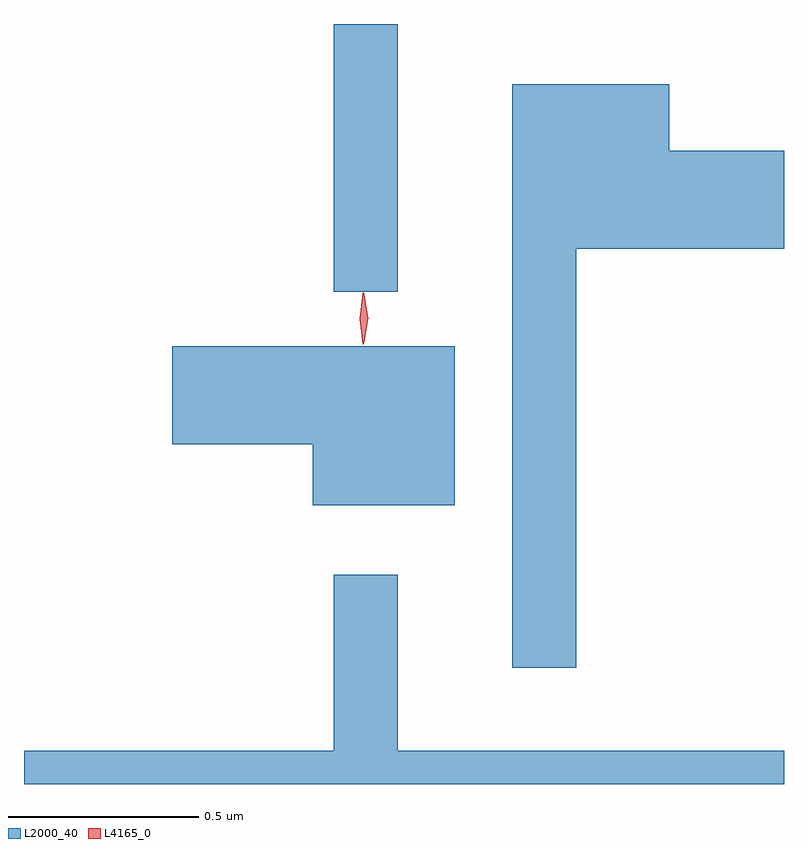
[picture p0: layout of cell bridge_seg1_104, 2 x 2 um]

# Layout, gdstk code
import gdstk
lib = gdstk.Library(unit=1e-6, precision=1e-09)
def R(c, l, rs):  # rectangles x0, y0, x1, y1
    for r in rs: c.add(gdstk.rectangle(r[:2], r[2:], *l))
def P(c, l, *ps):  # polygons
    for p in ps: c.add(gdstk.Polygon(p, *l))
L2000_40 = (2000, 40)
L4165_0 = (4165, 0)

bridge_seg1_104 = lib.new_cell('bridge_seg1_104')
R(bridge_seg1_104, L2000_40, [(1246.171,869.973,1246.339,870.677)])
P(bridge_seg1_104, L2000_40, [(1246.809,870.086),(1247.356,870.086),(1247.356,870.344),(1247.054,870.344),(1247.054,870.519),(1246.641,870.519),(1246.641,868.983),(1246.809,868.983)],
  [(1246.489,869.829),(1245.746,869.829),(1245.746,869.571),(1246.116,869.571),(1246.116,869.411),(1246.489,869.411)],
  [(1247.356,868.764),(1246.339,868.764),(1246.339,869.228),(1246.171,869.228),(1246.171,868.764),(1245.356,868.764),(1245.356,868.677),(1247.356,868.677)])
P(bridge_seg1_104, L4165_0, [(1246.248,869.834),(1246.239,869.902),(1246.248,869.97),(1246.249,869.97),(1246.25,869.97),(1246.259,869.902),(1246.25,869.834),(1246.249,869.834)],
  [(1246.252,869.84),(1246.252,869.84),(1246.242,869.903),(1246.252,869.966),(1246.252,869.967),(1246.252,869.966),(1246.262,869.903),(1246.252,869.84)])

lib.write_gds('bridge_seg1_104.gds')
